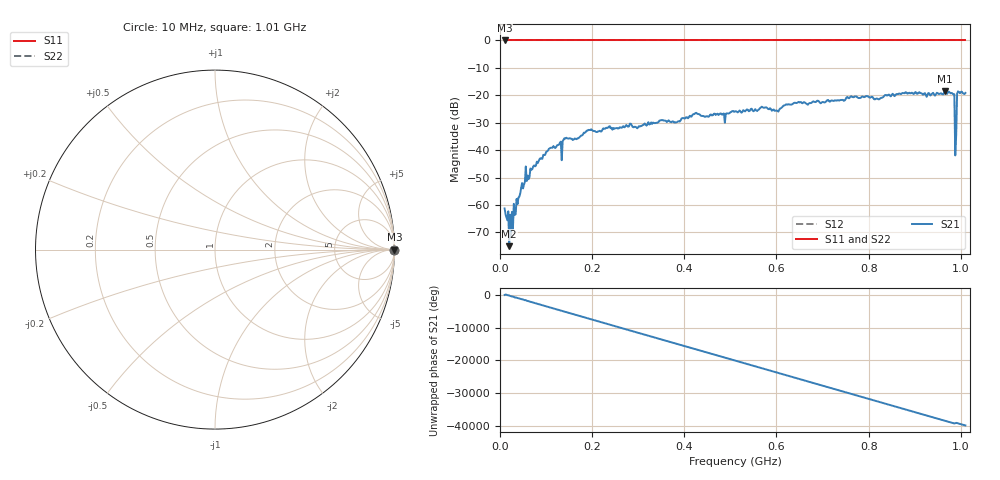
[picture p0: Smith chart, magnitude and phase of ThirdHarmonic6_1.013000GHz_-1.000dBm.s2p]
! 8/16/2025 8:22:47 AM
! C:\ANRITSUVNA\TEMP\TEMP.S2P
! CHANNEL.1
! TR.MEASUREMENT
! RAW.DATA
! RF.CORRECTION.OFF
! AVERAGING.OFF
! IF.BANDWIDTH: 5KHZ
! SWEEPTYPE:  FREQ.SWEEP(Linear)
! Reference Plane Port Info
! PORT:  PORT1  PORT2
! DISTANCE:  0  m  0  m
! TIME:  0  s  0  s
! PHASE.OFFSET:  0  deg.  0  deg.
! LOSS:  0  dB  0  dB
! REF.LOSS:  0  dB  0  dB
! REF.FREQ:  0  Hz  0  Hz
! Power Info
! POWER:  -20  dBm  -20  dBm
! EFF.POWER:  -20  dBm  -20  dBm
! SOURCE.ATTEN:  0  dB  0  dB
! TEST.ATTEN:  0  dB  0  dB
# GHZ S RI R 50.0
! FREQ.GHZ  S11RE  S11IM  S21RE  S21IM  S12RE  S12IM  S22RE  S22IM
!; PortSelection: Port_12
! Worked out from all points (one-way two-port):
!   501 points, 10 MHz to 1.01 GHz, reference 50 ohm
!   highest |S21| = -18.41 dB at 966 MHz (marker M1); lowest = -75.0 dB at 20 MHz (marker M2)
!   lowest |S11| = 0.0 dB at 10 MHz (marker M3)
!   |S11| at or under -10 dB: nowhere
!   |S22| runs from 0.0 to 0.0 dB; largest |S21 - S12| = 1.1
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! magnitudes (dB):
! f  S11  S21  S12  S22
! 10 MHz  0.0  -61.3  0.0  0.0
! 20 MHz  0.0  -75.0  0.0  0.0
! 24 MHz  0.0  -71.5  0.0  0.0
! 26 MHz  0.0  -62.5  0.0  0.0
! 52 MHz  0.0  -52.6  0.0  0.0
! 70 MHz  0.0  -47.0  0.0  0.0
! 108 MHz  0.0  -39.3  0.0  0.0
! 178 MHz  0.0  -34.6  0.0  0.0
! 194 MHz  0.0  -32.6  0.0  0.0
! 344 MHz  0.0  -29.7  0.0  0.0
! 510 MHz  0.0  -25.9  0.0  0.0
! 600 MHz  0.0  -25.5  0.0  0.0
! 622 MHz  0.0  -23.3  0.0  0.0
! 678 MHz  0.0  -22.4  0.0  0.0
! 844 MHz  0.0  -19.7  0.0  0.0
! 966 MHz  0.0  -18.4  0.0  0.0
! 982 MHz  0.0  -19.4  0.0  0.0
! 986 MHz  0.0  -19.6  0.0  0.0
! 988 MHz  0.0  -41.9  0.0  0.0
! 992 MHz  0.0  -19.4  0.0  0.0
! 996 MHz  0.0  -18.8  0.0  0.0
! 1.01 GHz  0.0  -19.1  0.0  0.0
